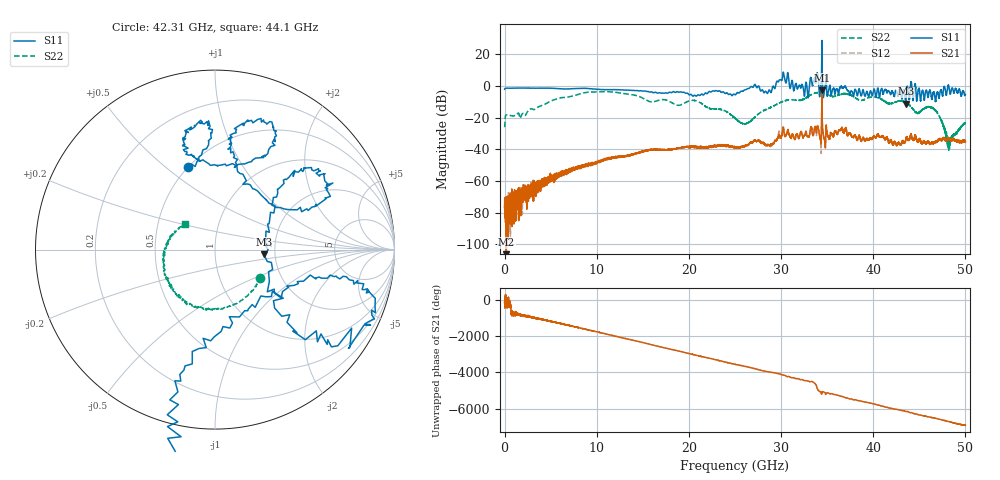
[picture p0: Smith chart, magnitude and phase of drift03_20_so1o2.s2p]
!Created with skrf (http://scikit-rf.org).
# Hz S RI R 50.0
!freq ReS11 ImS11 ReS21 ImS21 ReS12 ImS12 ReS22 ImS22
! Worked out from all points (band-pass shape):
!   10000 points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, 5.3 MHz to 50 GHz, reference 50 ohm
!   highest |S21| = -2.65 dB at 34.43 GHz (marker M1); lowest = -106.3 dB at 190.3 MHz (marker M2)
!   |S21| within 3 dB of the highest: 34.42753 GHz to 34.43429 GHz (6.752 MHz wide, 0.0196 % of centre)
!   lowest |S11| = -11.3 dB at 43.53 GHz (marker M3), VSWR 1.75, Z = 87.1 - j5 ohm
!   |S11| at or under -10 dB: 43.50061 GHz to 43.53881 GHz (38.2 MHz wide, 0.0878 % of centre)
!   |S22| runs from -40.7 to -3.6 dB; largest |S21 - S12| = 0.23
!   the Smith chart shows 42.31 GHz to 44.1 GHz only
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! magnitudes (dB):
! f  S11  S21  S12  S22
! 5.3 MHz  -2.1  -76.6  -70.7  -26.1
! 190.3 MHz  -1.4  -106.3  -77.2  -18.3
! 2.05 GHz  -1.3  -64.6  -66.9  -17.5
! 8.34 GHz  -1.5  -51.1  -50.1  -4.7
! 16.67 GHz  -4.4  -40.4  -40.3  -9.1
! 20.72 GHz  -6.2  -38.3  -39.1  -9.3
! 25.01 GHz  -5.5  -38.9  -39.1  -20.4
! 26.23 GHz  -2.2  -37.5  -37.4  -23.8
! 28.72 GHz  -2.5  -37.6  -37.6  -14.1
! 30.14 GHz  4.3  -29.3  -29.6  -10.0
! 32.74 GHz  2.0  -29.6  -29.3  -7.4
! 33.34 GHz  2.6  -27.4  -27.7  -5.3
! 33.82 GHz  3.9  -29.0  -29.4  -4.3
! 34.43 GHz  28.7  -2.7  -4.8  -4.0
! 36.48 GHz  -0.4  -28.0  -27.9  -5.4
! 38.87 GHz  -2.5  -32.8  -32.7  -9.0
! 41.67 GHz  -3.2  -35.4  -35.7  -11.0
! 43.53 GHz  -11.3  -34.2  -34.3  -10.4
! 44.77 GHz  -7.7  -35.2  -35.1  -17.4
! 46.66 GHz  -5.4  -35.5  -35.7  -14.9
! 48.22 GHz  -0.4  -33.3  -32.8  -37.3
! 50 GHz  -5.3  -35.5  -35.2  -23.6
